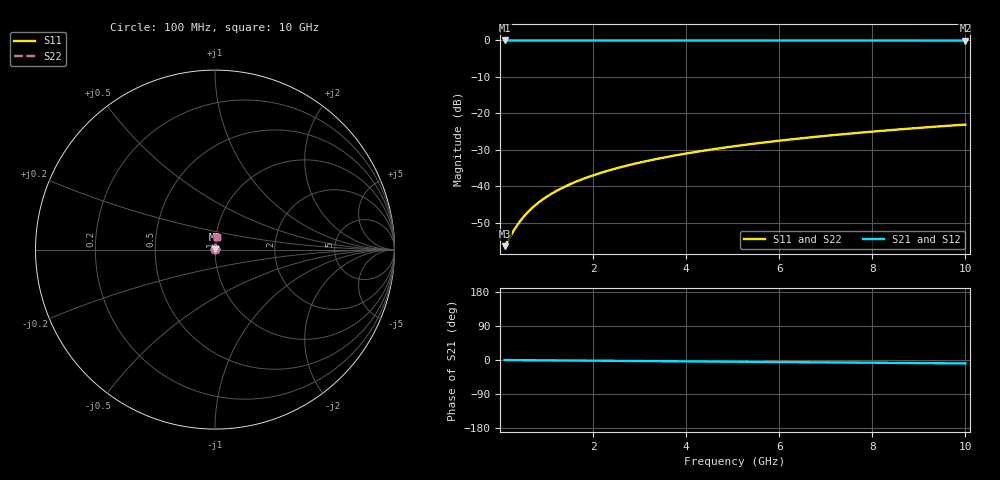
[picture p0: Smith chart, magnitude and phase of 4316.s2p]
# Hz S RI R 50.00
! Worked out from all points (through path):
!   100 points, 100 MHz to 10 GHz, reference 50 ohm
!   highest |S21| = -0.01 dB at 100 MHz (marker M1); lowest = 0.0 dB at 10 GHz (marker M2)
!   group delay of S21, straight-line fit = 2.49 ps
!   lowest |S11| = -56.4 dB at 100 MHz (marker M3), VSWR 1.00, Z = 50.1 + j0.0703 ohm
!   |S11| at or under -10 dB: start of sweep to end of sweep
!   |S22| runs from -56.4 to -23.1 dB; largest |S21 - S12| = 0
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1e8  0.00134 0.000701  0.9987 -0.00156  0.9987 -0.00156  0.00134 0.000701
3e8  0.00136 0.0021  0.9986 -0.00468  0.9986 -0.00468  0.00136 0.0021
4e8  0.00138 0.0028  0.9986 -0.00624  0.9986 -0.00624  0.00138 0.0028
5e8  0.00139 0.00351  0.9986 -0.0078  0.9986 -0.0078  0.00139 0.00351
6e8  0.00141 0.00421  0.9986 -0.00936  0.9986 -0.00936  0.00141 0.00421
7e8  0.00142 0.00491  0.9986 -0.0109  0.9986 -0.0109  0.00142 0.00491
8e8  0.00144 0.00561  0.9985 -0.0125  0.9985 -0.0125  0.00144 0.00561
9e8  0.00146 0.00631  0.9985 -0.014  0.9985 -0.014  0.00146 0.00631
1e9  0.00149 0.00701  0.9985 -0.0156  0.9985 -0.0156  0.00149 0.00701
1.2e9  0.00154 0.00841  0.9984 -0.0187  0.9984 -0.0187  0.00154 0.00841
1.5e9  0.00163 0.0105  0.9983 -0.0234  0.9983 -0.0234  0.00163 0.0105
1.8e9  0.00175 0.0126  0.9981 -0.0281  0.9981 -0.0281  0.00175 0.0126
2.1e9  0.00188 0.0147  0.9979 -0.0328  0.9979 -0.0328  0.00188 0.0147
2.5e9  0.00209 0.0175  0.9977 -0.039  0.9977 -0.039  0.00209 0.0175
2.9e9  0.00233 0.0203  0.9973 -0.0452  0.9973 -0.0452  0.00233 0.0203
3.4e9  0.00268 0.0238  0.9969 -0.053  0.9969 -0.053  0.00268 0.0238
4.2e9  0.00336 0.0294  0.996 -0.0655  0.996 -0.0655  0.00336 0.0294
5.1e9  0.00428 0.0356  0.9947 -0.0795  0.9947 -0.0795  0.00428 0.0356
5.9e9  0.00525 0.0411  0.9934 -0.092  0.9934 -0.092  0.00525 0.0411
6.7e9  0.00636 0.0467  0.9919 -0.1044  0.9919 -0.1044  0.00636 0.0467
8.4e9  0.00918 0.0583  0.9881 -0.1307  0.9881 -0.1307  0.00918 0.0583
1e10  0.0124 0.0691  0.9838 -0.1554  0.9838 -0.1554  0.0124 0.0691
